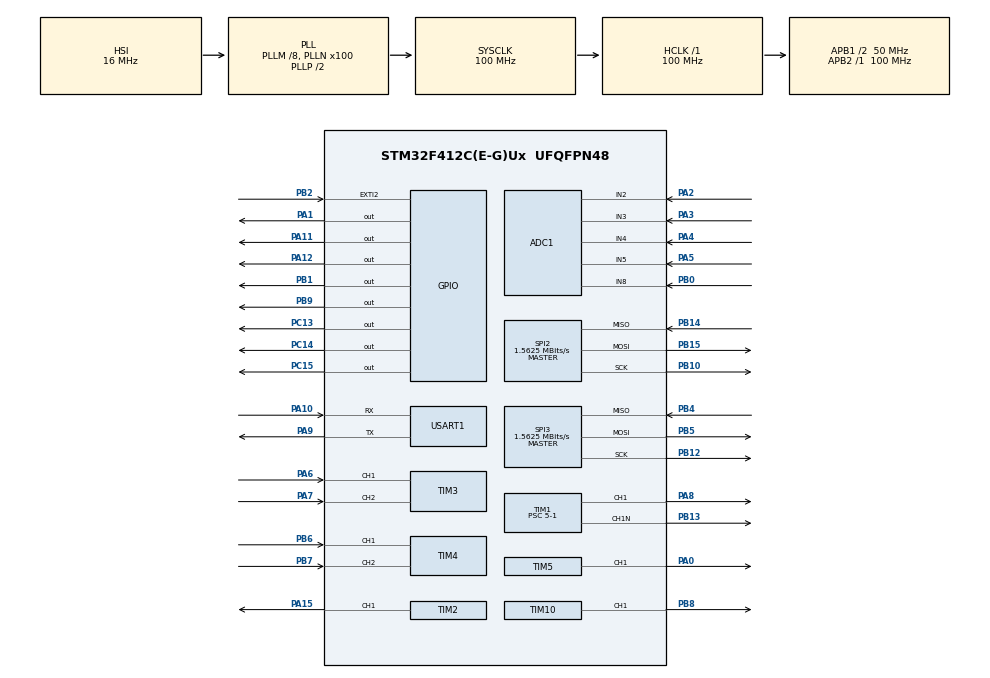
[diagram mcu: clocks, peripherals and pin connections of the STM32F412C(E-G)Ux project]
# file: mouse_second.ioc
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ADC1.Channel-0\#ChannelRegularConversion=ADC_CHANNEL_2
ADC1.Channel-1\#ChannelRegularConversion=ADC_CHANNEL_3
ADC1.Channel-2\#ChannelRegularConversion=ADC_CHANNEL_4
ADC1.Channel-3\#ChannelRegularConversion=ADC_CHANNEL_5
ADC1.Channel-4\#ChannelRegularConversion=ADC_CHANNEL_8
ADC1.ContinuousConvMode=ENABLE
ADC1.DMAContinuousRequests=ENABLE
ADC1.NbrOfConversion=5
ADC1.NbrOfConversionFlag=1
ADC1.Rank-0\#ChannelRegularConversion=1
ADC1.Rank-1\#ChannelRegularConversion=2
ADC1.Rank-2\#ChannelRegularConversion=3
ADC1.Rank-3\#ChannelRegularConversion=4
ADC1.Rank-4\#ChannelRegularConversion=5
ADC1.SamplingTime-0\#ChannelRegularConversion=ADC_SAMPLETIME_56CYCLES
ADC1.SamplingTime-1\#ChannelRegularConversion=ADC_SAMPLETIME_56CYCLES
ADC1.SamplingTime-2\#ChannelRegularConversion=ADC_SAMPLETIME_56CYCLES
ADC1.SamplingTime-3\#ChannelRegularConversion=ADC_SAMPLETIME_84CYCLES
ADC1.SamplingTime-4\#ChannelRegularConversion=ADC_SAMPLETIME_56CYCLES
ADC1.ScanConvMode=ENABLE
ADC1.master=1
Dma.ADC1.0.Direction=DMA_PERIPH_TO_MEMORY
Dma.ADC1.0.FIFOMode=DMA_FIFOMODE_DISABLE
Dma.ADC1.0.Instance=DMA2_Stream0
Dma.ADC1.0.MemDataAlignment=DMA_MDATAALIGN_HALFWORD
Dma.ADC1.0.MemInc=DMA_MINC_ENABLE
Dma.ADC1.0.Mode=DMA_CIRCULAR
Dma.ADC1.0.PeriphDataAlignment=DMA_PDATAALIGN_HALFWORD
Dma.ADC1.0.PeriphInc=DMA_PINC_DISABLE
Dma.ADC1.0.Priority=DMA_PRIORITY_LOW
Dma.Request0=ADC1
Mcu.Family=STM32F4
Mcu.Name=STM32F412C(E-G)Ux
Mcu.Package=UFQFPN48
NVIC.DMA2_Stream0_IRQn=true\:0\:0\:false\:false\:true\:false\:true\:true
NVIC.PriorityGroup=NVIC_PRIORITYGROUP_4
PA0.Signal=S_TIM5_CH1
PA1.Signal=GPIO_Output
PA10.Mode=Asynchronous
PA10.Signal=USART1_RX
PA11.Signal=GPIO_Output
PA12.Signal=GPIO_Output
PA13.Mode=Trace_Asynchronous_SW
PA13.Signal=SYS_JTMS-SWDIO
PA14.Mode=Trace_Asynchronous_SW
PA14.Signal=SYS_JTCK-SWCLK
PA15.Signal=S_TIM2_CH1_ETR
PA2.Signal=ADCx_IN2
PA3.Signal=ADCx_IN3
PA4.Signal=ADCx_IN4
PA5.Signal=ADCx_IN5
PA6.Signal=S_TIM3_CH1
PA7.Signal=S_TIM3_CH2
PA8.Signal=S_TIM1_CH1
PA9.Mode=Asynchronous
PA9.Signal=USART1_TX
PB0.Signal=ADCx_IN8
PB1.Signal=GPIO_Output
PB10.Mode=Full_Duplex_Master
PB10.Signal=SPI2_SCK
PB12.Mode=Full_Duplex_Master
PB12.Signal=SPI3_SCK
PB13.Mode=Output Compare1 CH1 CH1N
PB13.Signal=TIM1_CH1N
PB14.Mode=Full_Duplex_Master
PB14.Signal=SPI2_MISO
PB15.Mode=Full_Duplex_Master
PB15.Signal=SPI2_MOSI
PB2.Signal=GPXTI2
PB3.Mode=Trace_Asynchronous_SW
PB3.Signal=SYS_JTDO-SWO
PB4.Mode=Full_Duplex_Master
PB4.Signal=SPI3_MISO
PB5.Mode=Full_Duplex_Master
PB5.Signal=SPI3_MOSI
PB6.Signal=S_TIM4_CH1
PB7.Signal=S_TIM4_CH2
PB8.Signal=S_TIM10_CH1
PB9.Signal=GPIO_Output
PC13.Signal=GPIO_Output
PC14-OSC32_IN.Signal=GPIO_Output
PC15-OSC32_OUT.Signal=GPIO_Output
ProjectManager.HeapSize=0x200
ProjectManager.StackSize=0x400
ProjectManager.TargetToolchain=Makefile
RCC.AHBFreq_Value=100000000
RCC.APB1CLKDivider=RCC_HCLK_DIV2
RCC.APB1Freq_Value=50000000
RCC.APB1TimFreq_Value=100000000
RCC.APB2Freq_Value=100000000
RCC.APB2TimFreq_Value=100000000
RCC.CortexFreq_Value=100000000
RCC.HCLKFreq_Value=100000000
RCC.PLLM=8
RCC.PLLN=100
RCC.SYSCLKFreq_VALUE=100000000
RCC.SYSCLKSource=RCC_SYSCLKSOURCE_PLLCLK
RCC.USBFreq_Value=100000000
RCC.VCOOutputFreq_Value=200000000
SH.ADCx_IN2.0=ADC1_IN2,IN2
SH.ADCx_IN3.0=ADC1_IN3,IN3
SH.ADCx_IN4.0=ADC1_IN4,IN4
SH.ADCx_IN5.0=ADC1_IN5,IN5
SH.ADCx_IN8.0=ADC1_IN8,IN8
SH.S_TIM10_CH1.0=TIM10_CH1,PWM Generation1 CH1
SH.S_TIM1_CH1.0=TIM1_CH1,Output Compare1 CH1 CH1N
SH.S_TIM2_CH1_ETR.0=TIM2_CH1,PWM Generation1 CH1
SH.S_TIM3_CH1.0=TIM3_CH1,Encoder_Interface
SH.S_TIM3_CH2.0=TIM3_CH2,Encoder_Interface
SH.S_TIM4_CH1.0=TIM4_CH1,Encoder_Interface
SH.S_TIM4_CH2.0=TIM4_CH2,Encoder_Interface
SH.S_TIM5_CH1.0=TIM5_CH1,PWM Generation1 CH1
SPI2.BaudRatePrescaler=SPI_BAUDRATEPRESCALER_32
SPI2.CLKPhase=SPI_PHASE_2EDGE
SPI2.CLKPolarity=SPI_POLARITY_HIGH
SPI2.CalculateBaudRate=1.5625 MBits/s
SPI2.Direction=SPI_DIRECTION_2LINES
SPI2.Mode=SPI_MODE_MASTER
SPI2.VirtualType=VM_MASTER
SPI3.BaudRatePrescaler=SPI_BAUDRATEPRESCALER_32
SPI3.CLKPhase=SPI_PHASE_2EDGE
SPI3.CLKPolarity=SPI_POLARITY_LOW
SPI3.CalculateBaudRate=1.5625 MBits/s
SPI3.Direction=SPI_DIRECTION_2LINES
SPI3.Mode=SPI_MODE_MASTER
SPI3.VirtualType=VM_MASTER
TIM1.Channel-Output\ Compare1\ CH1\ CH1N=TIM_CHANNEL_1
TIM1.Period=2000-1
TIM1.Prescaler=5-1
TIM1.Pulse-Output\ Compare1\ CH1\ CH1N=1000-1
TIM10.Channel=TIM_CHANNEL_1
TIM2.Channel-PWM\ Generation1\ CH1=TIM_CHANNEL_1
TIM5.Channel-PWM\ Generation1\ CH1=TIM_CHANNEL_1
USART1.VirtualMode=VM_ASYNC
VP_TIM10_VS_ClockSourceINT.Mode=Enable_Timer
VP_TIM1_VS_ClockSourceINT.Mode=Internal
VP_TIM2_VS_ClockSourceINT.Mode=Internal
VP_TIM5_VS_ClockSourceINT.Mode=Internal
board=custom

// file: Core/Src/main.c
/* USER CODE BEGIN Header */
/**
  ******************************************************************************
  * @file           : main.c
  * @brief          : Main program body
  ******************************************************************************
  * @attention
  *
  * Copyright (c) 2022 STMicroelectronics.
  * All rights reserved.
  *
  * This software is licensed under terms that can be found in the LICENSE file
  * in the root directory of this software component.
  * If no LICENSE file comes with this software, it is provided AS-IS.
  *
  ******************************************************************************
  */
/* USER CODE END Header */
#include "main.h"
#include "adc.h"
#include "dma.h"
#include "spi.h"
#include "tim.h"
#include "usart.h"
#include "gpio.h"

/* USER CODE BEGIN Includes */
#include "stdlib.h"
#include "stdio.h"
#include "stdbool.h"
#include "string.h"
#include "stdint.h"

#include "ICM_20648.h"
#include "LED_Driver.h"
#include "Motor_Driver.h"
#include "AS5047P.h"
/* USER CODE END Includes */

void SystemClock_Config(void);
/* USER CODE BEGIN PFP */
void as5047p_spi_send(uint16_t data){
  //return 0;
  HAL_SPI_Transmit(&hspi3, (uint8_t *)&data, 1, 100);
}
uint16_t as5047p_spi_read(void){
  uint16_t data = 0;
  HAL_SPI_Receive(&hspi3, (uint8_t *)&data, 1, 100);
  return data;
}
void as5047p_spi_select()
{
  switch(spi3_dev_num){
    case 0:
    HAL_GPIO_WritePin(GPIOA, GPIO_PIN_11, GPIO_PIN_RESET);
    break;
    case 1:
    HAL_GPIO_WritePin(GPIOB, GPIO_PIN_9, GPIO_PIN_RESET);
    break;
  }
}
void as5047p_spi_deselect(int n)
{
  switch(spi3_dev_num){
    case 0:
    HAL_GPIO_WritePin(GPIOA, GPIO_PIN_11, GPIO_PIN_SET);
    break;
    case 1:
    HAL_GPIO_WritePin(GPIOB, GPIO_PIN_9, GPIO_PIN_SET);
    break;
  }
}

//SWD Debug
int _write(int file, char *ptr, int len)
{
  int DataIdx;
  for(DataIdx=0; DataIdx<len; DataIdx++)
  {
    ITM_SendChar(*ptr++);
  }
  return len;
}
//USART printf
#ifdef __GNUC__
        #define PUTCHAR_PROTOTYPE int __io_putchar(int ch)
        #define GETCHAR_PROTOTYPE int __io_getchar(void)
#else
        #define PUTCHAR_PROTOTYPE int fputc(int ch, FILE *f)
        #define GETCHAR_PROTOTYPE int f getc(FILE* f)
#endif /*__GNUC__*/
PUTCHAR_PROTOTYPE {
        HAL_UART_Transmit(&huart1, (uint8_t*)&ch, 1, 0xFFFF);
        return ch;
}
int __io_getchar(void) {
HAL_StatusTypeDef Status = HAL_BUSY;
uint8_t Data;

while(Status != HAL_OK)
{
Status = HAL_UART_Receive(&huart1, &Data, sizeof(Data), 10);
//if(Status == HAL_ERROR)
//{
//      return 0;
//      break;
//}

}

return(Data);
}
//GPIO EXTI Callback
void HAL_GPIO_EXTI_Callback(uint16_t GPIO_Pin){
  //swtitch IT
  static int i=0;
  //ChangeLED(i);
  i++;
  if(i > 7) i=0;
}
/* USER CODE END PFP */

int main(void)
{

  /* MCU Configuration--------------------------------------------------------*/

  /* Reset of all peripherals, Initializes the Flash interface and the Systick. */
  HAL_Init();

  /* Configure the system clock */
  SystemClock_Config();

  /* Initialize all configured peripherals */
  MX_GPIO_Init();
  MX_DMA_Init();
  MX_ADC1_Init();
  MX_SPI3_Init();
  MX_SPI2_Init();
  MX_TIM1_Init();
  MX_TIM2_Init();
  MX_TIM3_Init();
  MX_TIM4_Init();
  MX_TIM5_Init();
  MX_TIM10_Init();
  MX_USART1_UART_Init();
  /* USER CODE BEGIN 2 */
  uint16_t adcdata[5]={0};
  HAL_TIM_OC_Start_IT(&htim1,TIM_CHANNEL_1);
  HAL_TIMEx_OCN_Start_IT(&htim1, TIM_CHANNEL_1); // 位相
  HAL_ADC_Start_DMA(&hadc1, (uint32_t *)adcdata, 5);
  for(int i=0; i < 2; i++){
      if(IMU_init()){
      printf("OK\r\n");
    }else{
      printf("nomusan\r\n");
    }
  }
  Motor_PWM_Start();
  Motor_Switch(1000, 1000);
  /* USER CODE END 2 */

  /* Infinite loop */
  /* USER CODE BEGIN WHILE */
  while (1)
  {
    //ChangeLED(5);
	  for(int i=0; i < 5; i++){
		  printf("%d ", adcdata[i]);
		  HAL_Delay(200);
	  }
	  read_gyro_data();
	  printf(",%d\r\n",zg);
	  HAL_Delay(200);

#if 0
    float angle_degree;
    as5047p_dev_num_select(ENC_LEFT);
    if(as5047p_get_angle(0, &angle_degree) == 0){
      printf("左角度 : %f\r\n", angle_degree);
    }
    else{
      printf("error 左\r\n");
    }
    as5047p_dev_num_select(ENC_RIGHT);
    if(as5047p_get_angle(0, &angle_degree) == 0){
      printf("右角度 : %f\r\n", angle_degree);
    }
    else{
      printf("error 右\r\n");
    }
#else
    //tim3,4でABモード(デフォ)
    printf("%ld, %ld\r\n", TIM3->CNT, TIM4->CNT);
#endif
    HAL_Delay(200);
    /* USER CODE END WHILE */

  }
}

void SystemClock_Config(void)
{
  RCC_OscInitTypeDef RCC_OscInitStruct = {0};
  RCC_ClkInitTypeDef RCC_ClkInitStruct = {0};

  /** Configure the main internal regulator output voltage
  */
  __HAL_RCC_PWR_CLK_ENABLE();
  __HAL_PWR_VOLTAGESCALING_CONFIG(PWR_REGULATOR_VOLTAGE_SCALE1);

  /** Initializes the RCC Oscillators according to the specified parameters
  * in the RCC_OscInitTypeDef structure.
  */
  RCC_OscInitStruct.OscillatorType = RCC_OSCILLATORTYPE_HSI;
  RCC_OscInitStruct.HSIState = RCC_HSI_ON;
  RCC_OscInitStruct.HSICalibrationValue = RCC_HSICALIBRATION_DEFAULT;
  RCC_OscInitStruct.PLL.PLLState = RCC_PLL_ON;
  RCC_OscInitStruct.PLL.PLLSource = RCC_PLLSOURCE_HSI;
  RCC_OscInitStruct.PLL.PLLM = 8;
  RCC_OscInitStruct.PLL.PLLN = 100;
  RCC_OscInitStruct.PLL.PLLP = RCC_PLLP_DIV2;
  RCC_OscInitStruct.PLL.PLLQ = 2;
  RCC_OscInitStruct.PLL.PLLR = 2;
  if (HAL_RCC_OscConfig(&RCC_OscInitStruct) != HAL_OK)
  {
    Error_Handler();
  }

  /** Initializes the CPU, AHB and APB buses clocks
  */
  RCC_ClkInitStruct.ClockType = RCC_CLOCKTYPE_HCLK|RCC_CLOCKTYPE_SYSCLK
                              |RCC_CLOCKTYPE_PCLK1|RCC_CLOCKTYPE_PCLK2;
  RCC_ClkInitStruct.SYSCLKSource = RCC_SYSCLKSOURCE_PLLCLK;
  RCC_ClkInitStruct.AHBCLKDivider = RCC_SYSCLK_DIV1;
  RCC_ClkInitStruct.APB1CLKDivider = RCC_HCLK_DIV2;
  RCC_ClkInitStruct.APB2CLKDivider = RCC_HCLK_DIV1;

  if (HAL_RCC_ClockConfig(&RCC_ClkInitStruct, FLASH_LATENCY_3) != HAL_OK)
  {
    Error_Handler();
  }
}

void Error_Handler(void)
{
  __disable_irq();
  while (1)
  {
  }
}
